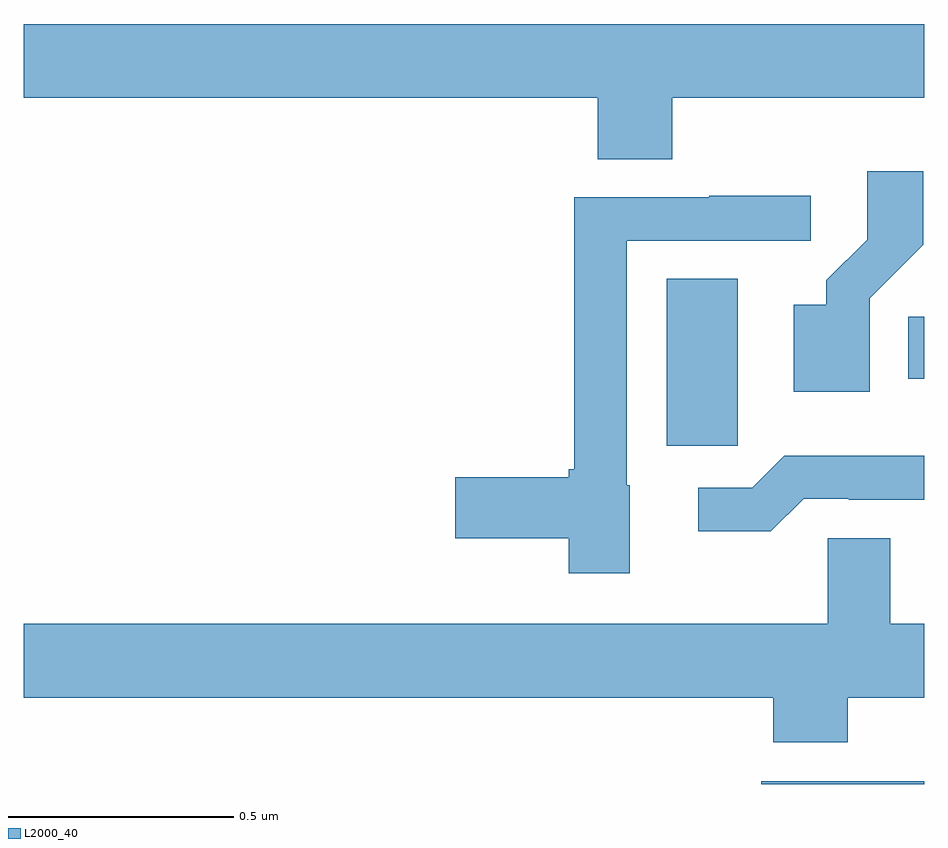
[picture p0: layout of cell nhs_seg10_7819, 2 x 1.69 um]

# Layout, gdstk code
import gdstk
lib = gdstk.Library(unit=1e-6, precision=1e-09)
def R(c, l, rs):  # rectangles x0, y0, x1, y1
    for r in rs: c.add(gdstk.rectangle(r[:2], r[2:], *l))
def P(c, l, *ps):  # polygons
    for p in ps: c.add(gdstk.Polygon(p, *l))
L2000_40 = (2000, 40)

nhs_seg10_7819 = lib.new_cell('nhs_seg10_7819')
R(nhs_seg10_7819, L2000_40, [(210.638,1257.5,211,1257.506), (210.428,1258.251,210.586,1258.622), (210.964,1258.4,211,1258.538)])
P(nhs_seg10_7819, L2000_40, [(210.44,1259.024),(211,1259.024),(211,1259.188),(209,1259.188),(209,1259.024),(210.275,1259.024),(210.275,1258.888),(210.44,1258.888)],
  [(210.879,1258.579),(210.998,1258.698),(210.998,1258.861),(210.873,1258.861),(210.873,1258.709),(210.782,1258.619),(210.782,1258.564),(210.71,1258.564),(210.71,1258.371),(210.879,1258.371)],
  [(210.346,1258.164),(210.339,1258.164),(210.339,1258.707),(210.748,1258.707),(210.748,1258.806),(210.523,1258.806),(210.523,1258.803),(210.223,1258.803),(210.223,1258.199),(210.21,1258.199),(210.21,1258.181),(209.958,1258.181),(209.958,1258.046),(210.21,1258.046),(210.21,1257.968),(210.346,1257.968)],
  [(210.732,1258.134),(210.832,1258.134),(210.832,1258.131),(211,1258.131),(211,1258.229),(210.689,1258.229),(210.618,1258.158),(210.498,1258.158),(210.498,1258.061),(210.659,1258.061)],
  [(210.83,1257.692),(211,1257.692),(211,1257.856),(210.925,1257.856),(210.925,1258.046),(210.786,1258.046),(210.786,1257.856),(209,1257.856),(209,1257.692),(210.665,1257.692),(210.665,1257.593),(210.83,1257.593)])

lib.write_gds('nhs_seg10_7819.gds')
